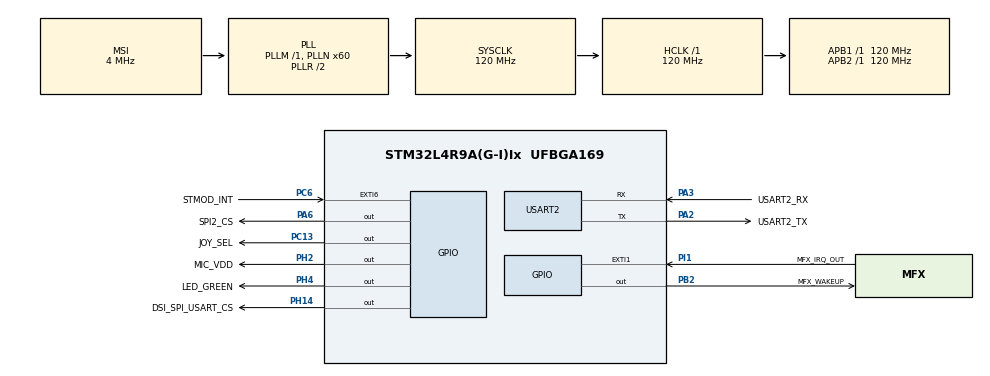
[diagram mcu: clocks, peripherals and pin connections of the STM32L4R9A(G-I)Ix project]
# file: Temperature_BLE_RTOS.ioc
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ADC1.Channel-7\#ChannelRegularConversion=ADC_CHANNEL_TEMPSENSOR
ADC1.ContinuousConvMode=ENABLE
ADC1.NbrOfConversionFlag=1
ADC1.OffsetNumber-7\#ChannelRegularConversion=ADC_OFFSET_NONE
ADC1.Rank-7\#ChannelRegularConversion=1
ADC1.SamplingTime-7\#ChannelRegularConversion=ADC_SAMPLETIME_640CYCLES_5
ADC1.master=1
DSIHOST_CKN.GPIO_Label=DSI_CK_N
DSIHOST_CKN.Signal=DSIHOST_CKN
DSIHOST_CKP.GPIO_Label=DSI_CK_P
DSIHOST_CKP.Signal=DSIHOST_CKP
DSIHOST_D0N.GPIO_Label=DSI_D0_N
DSIHOST_D0N.Signal=DSIHOST_D0N
DSIHOST_D0P.GPIO_Label=DSI_D0_P
DSIHOST_D0P.Signal=DSIHOST_D0P
DSIHOST_D1N.GPIO_Label=DSI_D1_N
DSIHOST_D1N.Signal=DSIHOST_D1N
DSIHOST_D1P.GPIO_Label=DSI_D1_P
DSIHOST_D1P.Signal=DSIHOST_D1P
Dma.ADC1.0.Direction=DMA_PERIPH_TO_MEMORY
Dma.ADC1.0.EventEnable=DISABLE
Dma.ADC1.0.Instance=DMA1_Channel1
Dma.ADC1.0.MemDataAlignment=DMA_MDATAALIGN_HALFWORD
Dma.ADC1.0.MemInc=DMA_MINC_ENABLE
Dma.ADC1.0.Mode=DMA_CIRCULAR
Dma.ADC1.0.PeriphDataAlignment=DMA_PDATAALIGN_HALFWORD
Dma.ADC1.0.PeriphInc=DMA_PINC_DISABLE
Dma.ADC1.0.Polarity=HAL_DMAMUX_REQUEST_GEN_RISING
Dma.ADC1.0.Priority=DMA_PRIORITY_LOW
Dma.ADC1.0.RequestNumber=1
Dma.ADC1.0.SignalID=NONE
Dma.ADC1.0.SyncEnable=DISABLE
Dma.ADC1.0.SyncPolarity=HAL_DMAMUX_SYNC_NO_EVENT
Dma.ADC1.0.SyncRequestNumber=1
Dma.ADC1.0.SyncSignalID=NONE
Dma.Request0=ADC1
FREERTOS.BinarySemaphores01=adcHalfSem,Dynamic,NULL,Available;adcFullSem,Dynamic,NULL,Available
FREERTOS.Queues01=sensorToBleQueue,10,16,1,Dynamic,NULL,NULL
FREERTOS.Tasks01=SystemTask,8,256,StartDefaultTask,Default,NULL,Dynamic,NULL,NULL;SensorTask,32,512,sensorTask,Default,NULL,Dynamic,NULL,NULL;BLETask,24,512,bleTask,Default,NULL,Dynamic,NULL,NULL
Mcu.Family=STM32L4
Mcu.Name=STM32L4R9A(G-I)Ix
Mcu.Package=UFBGA169
NVIC.DMA1_Channel1_IRQn=true\:5\:0\:false\:false\:true\:true\:false\:true\:true
NVIC.PriorityGroup=NVIC_PRIORITYGROUP_4
NVIC.TIM6_DAC_IRQn=true\:15\:0\:false\:false\:true\:false\:false\:true\:true
NVIC.TimeBase=TIM6_DAC_IRQn
NVIC.TimeBaseIP=TIM6
PA0.Signal=ADCx_IN5
PA1.GPIO_Label=ARD_D5
PA1.Signal=S_TIM5_CH2
PA10.GPIO_Label=USB_OTGFS_ID
PA10.Signal=USB_OTG_FS_ID
PA11.GPIO_Label=USB_OTGFS_DM
PA11.Signal=USB_OTG_FS_DM
PA12.GPIO_Label=USB_OTG_FS_DP
PA12.Signal=USB_OTG_FS_DP
PA13\ (JTMS/SWDIO).GPIO_Label=SWDIO
PA13\ (JTMS/SWDIO).Mode=Serial_Wire
PA13\ (JTMS/SWDIO).Signal=SYS_JTMS-SWDIO
PA14\ (JTCK/SWCLK).GPIO_Label=SWCLK
PA14\ (JTCK/SWCLK).Mode=Serial_Wire
PA14\ (JTCK/SWCLK).Signal=SYS_JTCK-SWCLK
PA15\ (JTDI).GPIO_Label=USART3_RTS
PA15\ (JTDI).Signal=USART3_RTS
PA2.GPIO_Label=USART2_TX
PA2.Mode=Asynchronous
PA2.Signal=USART2_TX
PA3.GPIO_Label=USART2_RX
PA3.Mode=Asynchronous
PA3.Signal=USART2_RX
PA4.GPIO_Label=DCMI_HSYNC
PA4.Signal=DCMI_HSYNC
PA5.GPIO_Label=STMOD_PWM
PA5.Signal=S_TIM2_CH1
PA6.GPIO_Label=SPI2_CS
PA6.Signal=GPIO_Output
PA7.GPIO_Label=ARD_A0
PA7.Signal=ADCx_IN12
PA9.GPIO_Label=USB_OTGFS_VBUS
PA9.Signal=USB_OTG_FS_VBUS
PB0.GPIO_Label=ARD_A3
PB0.Signal=ADCx_IN15
PB10.GPIO_Label=USART3_TX
PB10.Signal=USART3_TX
PB11.GPIO_Label=USART3_RX
PB11.Signal=USART3_RX
PB12.GPIO_Label=DFDATIN1
PB12.Signal=S_DATAIN1DFSDM1
PB13.GPIO_Label=SPI2_CLK
PB13.Signal=SPI2_SCK
PB14.GPIO_Label=SPI2_MISO
PB14.Signal=SPI2_MISO
PB15.GPIO_Label=SPI_MOSI
PB15.Signal=SPI2_MOSI
PB2.GPIO_Label=MFX_WAKEUP
PB2.Signal=GPIO_Output
PB3\ (JTDO/TRACESWO).GPIO_Label=SWO
PB3\ (JTDO/TRACESWO).Signal=SYS_JTDO-SWO
PB4\ (NJTRST).GPIO_Label=ARD_D6
PB4\ (NJTRST).Signal=S_TIM3_CH1
PB5.GPIO_Label=SAI1_SDB
PB5.Signal=SAI1_SD_B
PB6.GPIO_Label=I2C1_SCL
PB6.GPIO_Pu=GPIO_PULLUP
PB6.Signal=I2C1_SCL
PB7.GPIO_Label=PSRAM_ADV
PB7.Signal=FMC_NL
PB9.GPIO_Label=SAI1_FSA
PB9.Signal=SAI1_FS_A
PC0.GPIO_Label=ARD_D0
PC0.Signal=LPUART1_RX
PC1.GPIO_Label=ARD_D1
PC1.Signal=LPUART1_TX
PC10.GPIO_Label=uSD_D2
PC10.Signal=SDMMC1_D2
PC11.GPIO_Label=uSD_D3
PC11.Signal=SDMMC1_D3
PC12.GPIO_Label=uSD_CLK
PC12.Signal=SDMMC1_CK
PC13.GPIO_Label=JOY_SEL
PC13.Signal=GPIO_Output
PC14-OSC32_IN\ (PC14).Mode=LSE-External-Oscillator
PC14-OSC32_IN\ (PC14).Signal=RCC_OSC32_IN
PC15-OSC32_OUT\ (PC15).Mode=LSE-External-Oscillator
PC15-OSC32_OUT\ (PC15).Signal=RCC_OSC32_OUT
PC2.GPIO_Label=DF_CKOUT
PC2.Signal=S_CKOUTDFSDM1
PC3.GPIO_Label=ARD_A2
PC3.Signal=ADCx_IN4
PC4.GPIO_Label=ARD_A1
PC4.Signal=ADCx_IN13
PC6.GPIO_Label=STMOD_INT
PC6.Signal=GPXTI6
PC7.GPIO_Label=DFDATIN3
PC7.Signal=S_DATAIN3DFSDM1
PC8.GPIO_Label=uSD_D0
PC8.Signal=SDMMC1_D0
PC9.GPIO_Label=uSD_D1
PC9.Signal=SDMMC1_D1
PD0.GPIO_Label=D2
PD0.Signal=FMC_D2_DA2
PD1.GPIO_Label=D3
PD1.Signal=FMC_D3_DA3
PD10.GPIO_Label=D15
PD10.Signal=FMC_D15_DA15
PD11.GPIO_Label=PSRAM_A16
PD11.Signal=FMC_A16_CLE
PD12.GPIO_Label=PSRAM_A17
PD12.Signal=FMC_A17_ALE
PD13.GPIO_Label=PSRAM_A18
PD13.Signal=FMC_A18
PD14.GPIO_Label=D0
PD14.Signal=FMC_D0_DA0
PD15.GPIO_Label=D1
PD15.Signal=FMC_D1_DA1
PD2.GPIO_Label=uSD_CMD
PD2.Signal=SDMMC1_CMD
PD3.GPIO_Label=PSRAM_CLK
PD3.Signal=FMC_CLK
PD4.GPIO_Label=PSRAM_OE
PD4.Signal=FMC_NOE
PD5.GPIO_Label=PSRAM_WE
PD5.Signal=FMC_NWE
PD6.GPIO_Label=PSRAM_WAIT
PD6.Signal=FMC_NWAIT
PD7.GPIO_Label=PSRAM_NE1
PD7.Signal=FMC_NE1
PD8.GPIO_Label=D13
PD8.Signal=FMC_D13_DA13
PD9.GPIO_Label=D14
PD9.Signal=FMC_D14_DA14
PE0.GPIO_Label=PSRAM_NBL0
PE0.Signal=FMC_NBL0
PE1.GPIO_Label=PSRAM_NBL1
PE1.Signal=FMC_NBL1
PE10.GPIO_Label=D7
PE10.Signal=FMC_D7_DA7
PE11.GPIO_Label=D8
PE11.Signal=FMC_D8_DA8
PE12.GPIO_Label=D9
PE12.Signal=FMC_D9_DA9
PE13.GPIO_Label=D10
PE13.Signal=FMC_D10_DA10
PE14.GPIO_Label=D11
PE14.Signal=FMC_D11_DA11
PE15.GPIO_Label=D12
PE15.Signal=FMC_D12_DA12
PE2.GPIO_Label=SAI1_MCKA
PE2.Signal=SAI1_MCLK_A
PE3.GPIO_Label=PSRAM_A19
PE3.Signal=FMC_A19
PE4.GPIO_Label=PSRAM_A20
PE4.Signal=FMC_A20
PE5.GPIO_Label=SAI1_SCKA
PE5.Signal=SAI1_SCK_A
PE6.GPIO_Label=SAI1_SDA
PE6.Signal=SAI1_SD_A
PE7.GPIO_Label=D4
PE7.Signal=FMC_D4_DA4
PE8.GPIO_Label=D5
PE8.Signal=FMC_D5_DA5
PE9.GPIO_Label=D6
PE9.Signal=FMC_D6_DA6
PF0.GPIO_Label=PSRAM_A0
PF0.Signal=FMC_A0
PF1.GPIO_Label=PSRAM_A1
PF1.Signal=FMC_A1
PF11.GPIO_Label=DSI_TE
PF11.Signal=DSIHOST_TE
PF12.GPIO_Label=PSRAM_A6
PF12.Signal=FMC_A6
PF13.GPIO_Label=PSRAM_A7
PF13.Signal=FMC_A7
PF14.GPIO_Label=PSRAM_A8
PF14.Signal=FMC_A8
PF15.GPIO_Label=PSRAM_A9
PF15.Signal=FMC_A9
PF2.GPIO_Label=PSRAM_A2
PF2.Signal=FMC_A2
PF3.GPIO_Label=PSRAM_A3
PF3.Signal=FMC_A3
PF4.GPIO_Label=PSRAM_A4
PF4.Signal=FMC_A4
PF5.GPIO_Label=PSRAM_A5
PF5.Signal=FMC_A5
PG0.GPIO_Label=PSRAM_A10
PG0.Signal=FMC_A10
PG1.GPIO_Label=PSRAM_A11
PG1.Signal=FMC_A11
PG10.GPIO_Label=OCTOSPIM_P2_IO7
PG10.Signal=OCTOSPIM_P2_IO7
PG12.GPIO_Label=OCTOSPIM_P2_CS
PG12.Signal=OCTOSPIM_P2_NCS
PG13.GPIO_Label=I2C1_SDA
PG13.GPIO_Pu=GPIO_PULLUP
PG13.Signal=I2C1_SDA
PG15.GPIO_Label=OCTOSPIM_P2_DQS
PG15.Signal=OCTOSPIM_P2_DQS
PG2.GPIO_Label=PSRAM_A12
PG2.Signal=FMC_A12
PG3.GPIO_Label=PSRAM_A13
PG3.Signal=FMC_A13
PG4.GPIO_Label=PSRAM_A14
PG4.Signal=FMC_A14
PG5.GPIO_Label=PSRAM_A15
PG5.Signal=FMC_A15
PG7.GPIO_Label=ARD_15
PG7.Signal=I2C3_SCL
PG8.GPIO_Label=ARD_14
PG8.Signal=I2C3_SDA
PG9.GPIO_Label=OCTOSPIM_P2_IO6
PG9.Signal=OCTOSPIM_P2_IO6
PH0-OSC_IN\ (PH0).Mode=HSE-External-Oscillator
PH0-OSC_IN\ (PH0).Signal=RCC_OSC_IN
PH1-OSC_OUT\ (PH1).Mode=HSE-External-Oscillator
PH1-OSC_OUT\ (PH1).Signal=RCC_OSC_OUT
PH10.GPIO_Label=OCTOSPIM_P2_IO5
PH10.Signal=OCTOSPIM_P2_IO5
PH11.GPIO_Label=DCMI_D2
PH11.Signal=DCMI_D2
PH12.GPIO_Label=DCMI_D3
PH12.Signal=DCMI_D3
PH13.GPIO_Label=ARD_D9
PH13.Signal=TIM8_CH1N
PH14.GPIO_Label=DSI_SPI_USART_CS
PH14.Signal=GPIO_Output
PH2.GPIO_Label=MIC_VDD
PH2.Signal=GPIO_Output
PH4.GPIO_Label=LED_GREEN
PH4.Signal=GPIO_Output
PH5.GPIO_Label=DCMI_PIXCLK
PH5.Signal=DCMI_PIXCLK
PH8.GPIO_Label=OCTOSPI_P2_IO3
PH8.Signal=OCTOSPIM_P2_IO3
PH9.GPIO_Label=OCTOPSIM_P2_IO4
PH9.Signal=OCTOSPIM_P2_IO4
PI0.GPIO_Label=ARD_10
PI0.Signal=SPI2_NSS
PI1.GPIO_Label=MFX_IRQ_OUT
PI1.Signal=GPXTI1
PI10.GPIO_Label=OCTOSPIM_P2_IO1
PI10.Signal=OCTOSPIM_P2_IO1
PI11.GPIO_Label=OCTOSPIM_P2_IO0
PI11.Signal=OCTOSPIM_P2_IO0
PI4.GPIO_Label=DCMI_D5
PI4.Signal=DCMI_D5
PI5.GPIO_Label=DCMI_VSYNC
PI5.Signal=DCMI_VSYNC
PI6.GPIO_Label=OCTOSPIM_P2_CLK
PI6.Signal=OCTOSPIM_P2_CLK
PI7.GPIO_Label=DCMI_D7
PI7.Signal=DCMI_D7
PI9.GPIO_Label=OCTOSPIM_P2_IO2
PI9.Signal=OCTOSPIM_P2_IO2
ProjectManager.HeapSize=0x200
ProjectManager.StackSize=0x400
ProjectManager.TargetToolchain=STM32CubeIDE
RCC.ADCFreq_Value=32000000
RCC.AHBFreq_Value=120000000
RCC.APB1Freq_Value=120000000
RCC.APB1TimFreq_Value=120000000
RCC.APB2Freq_Value=120000000
RCC.APB2TimFreq_Value=120000000
RCC.CK48CLockSelection=RCC_USBCLKSOURCE_HSI48
RCC.CortexFreq_Value=120000000
RCC.HCLKFreq_Value=120000000
RCC.HSE_VALUE=16000000
RCC.HSI48_VALUE=48000000
RCC.HSI_VALUE=16000000
RCC.MSI_VALUE=4000000
RCC.PLLDSINDIV=32
RCC.PLLN=60
RCC.PLLP=RCC_PLLP_DIV5
RCC.PLLSAI1N=16
RCC.SYSCLKFreq_VALUE=120000000
RCC.SYSCLKSource=RCC_SYSCLKSOURCE_PLLCLK
RCC.USBFreq_Value=48000000
RCC.VCOOutputFreq_Value=240000000
SH.ADCx_IN12.0=ADC1_IN12
SH.ADCx_IN13.0=ADC1_IN13
SH.ADCx_IN15.0=ADC1_IN15
SH.ADCx_IN4.0=ADC1_IN4
SH.ADCx_IN5.0=ADC1_IN5
SH.FMC_A0.0=FMC_A0
SH.FMC_A1.0=FMC_A1
SH.FMC_A10.0=FMC_A10
SH.FMC_A11.0=FMC_A11
SH.FMC_A12.0=FMC_A12
SH.FMC_A13.0=FMC_A13
SH.FMC_A14.0=FMC_A14
SH.FMC_A15.0=FMC_A15
SH.FMC_A16_CLE.0=FMC_A16
SH.FMC_A17_ALE.0=FMC_A17
SH.FMC_A18.0=FMC_A18
SH.FMC_A19.0=FMC_A19
SH.FMC_A2.0=FMC_A2
SH.FMC_A20.0=FMC_A20
SH.FMC_A3.0=FMC_A3
SH.FMC_A4.0=FMC_A4
SH.FMC_A5.0=FMC_A5
SH.FMC_A6.0=FMC_A6
SH.FMC_A7.0=FMC_A7
SH.FMC_A8.0=FMC_A8
SH.FMC_A9.0=FMC_A9
SH.FMC_CLK.0=FMC_CLK
SH.FMC_D0_DA0.0=FMC_D0
SH.FMC_D10_DA10.0=FMC_D10
SH.FMC_D11_DA11.0=FMC_D11
SH.FMC_D12_DA12.0=FMC_D12
SH.FMC_D13_DA13.0=FMC_D13
SH.FMC_D14_DA14.0=FMC_D14
SH.FMC_D15_DA15.0=FMC_D15
SH.FMC_D1_DA1.0=FMC_D1
SH.FMC_D2_DA2.0=FMC_D2
SH.FMC_D3_DA3.0=FMC_D3
SH.FMC_D4_DA4.0=FMC_D4
SH.FMC_D5_DA5.0=FMC_D5
SH.FMC_D6_DA6.0=FMC_D6
SH.FMC_D7_DA7.0=FMC_D7
SH.FMC_D8_DA8.0=FMC_D8
SH.FMC_D9_DA9.0=FMC_D9
SH.FMC_NBL0.0=FMC_NBL0
SH.FMC_NBL1.0=FMC_NBL1
SH.FMC_NL.0=FMC_NL
SH.FMC_NOE.0=FMC_NOE
SH.FMC_NWAIT.0=FMC_NWAIT
SH.FMC_NWE.0=FMC_NWE
SH.S_CKOUTDFSDM1.0=DFSDM1_CKOUT
SH.S_DATAIN1DFSDM1.0=DFSDM1_DATIN1
SH.S_DATAIN3DFSDM1.0=DFSDM1_DATIN3
SH.S_TIM2_CH1.0=TIM2_CH1
SH.S_TIM3_CH1.0=TIM3_CH1
SH.S_TIM5_CH2.0=TIM5_CH2
USART2.VirtualMode-Asynchronous=VM_ASYNC
VP_ADC1_TempSens_Input.Mode=IN-TempSens
VP_FREERTOS_VS_CMSIS_V2.Mode=CMSIS_V2
VP_SYS_VS_tim6.Mode=TIM6
board=STM32L4R9I-DISCO

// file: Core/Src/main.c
/* USER CODE BEGIN Header */
/**
  ******************************************************************************
  * @file           : main.c
  * @brief          : Main program body
  ******************************************************************************
  * @attention
  *
  * Copyright (c) 2026 STMicroelectronics.
  * All rights reserved.
  *
  * This software is licensed under terms that can be found in the LICENSE file
  * in the root directory of this software component.
  * If no LICENSE file comes with this software, it is provided AS-IS.
  *
  ******************************************************************************
  */
/* USER CODE END Header */
#include "main.h"
#include "cmsis_os.h"
#include "adc.h"
#include "dma.h"
#include "usart.h"
#include "gpio.h"

void SystemClock_Config(void);
void MX_FREERTOS_Init(void);

int main(void)
{

  /* MCU Configuration--------------------------------------------------------*/

  /* Reset of all peripherals, Initializes the Flash interface and the Systick. */
  HAL_Init();

  /* Configure the system clock */
  SystemClock_Config();

  /* Initialize all configured peripherals */
  MX_GPIO_Init();
  MX_DMA_Init();
  MX_ADC1_Init();
  MX_USART2_UART_Init();

  /* Init scheduler */
  osKernelInitialize();  /* Call init function for freertos objects (in cmsis_os2.c) */
  MX_FREERTOS_Init();

  /* Start scheduler */
  osKernelStart();

  /* We should never get here as control is now taken by the scheduler */

  /* Infinite loop */
  while (1)
  {

  }
}

void SystemClock_Config(void)
{
  RCC_OscInitTypeDef RCC_OscInitStruct = {0};
  RCC_ClkInitTypeDef RCC_ClkInitStruct = {0};

  /** Configure the main internal regulator output voltage
  */
  if (HAL_PWREx_ControlVoltageScaling(PWR_REGULATOR_VOLTAGE_SCALE1_BOOST) != HAL_OK)
  {
    Error_Handler();
  }

  /** Initializes the RCC Oscillators according to the specified parameters
  * in the RCC_OscInitTypeDef structure.
  */
  RCC_OscInitStruct.OscillatorType = RCC_OSCILLATORTYPE_MSI;
  RCC_OscInitStruct.MSIState = RCC_MSI_ON;
  RCC_OscInitStruct.MSICalibrationValue = 0;
  RCC_OscInitStruct.MSIClockRange = RCC_MSIRANGE_6;
  RCC_OscInitStruct.PLL.PLLState = RCC_PLL_ON;
  RCC_OscInitStruct.PLL.PLLSource = RCC_PLLSOURCE_MSI;
  RCC_OscInitStruct.PLL.PLLM = 1;
  RCC_OscInitStruct.PLL.PLLN = 60;
  RCC_OscInitStruct.PLL.PLLP = RCC_PLLP_DIV5;
  RCC_OscInitStruct.PLL.PLLQ = RCC_PLLQ_DIV2;
  RCC_OscInitStruct.PLL.PLLR = RCC_PLLR_DIV2;
  if (HAL_RCC_OscConfig(&RCC_OscInitStruct) != HAL_OK)
  {
    Error_Handler();
  }

  /** Initializes the CPU, AHB and APB buses clocks
  */
  RCC_ClkInitStruct.ClockType = RCC_CLOCKTYPE_HCLK|RCC_CLOCKTYPE_SYSCLK
                              |RCC_CLOCKTYPE_PCLK1|RCC_CLOCKTYPE_PCLK2;
  RCC_ClkInitStruct.SYSCLKSource = RCC_SYSCLKSOURCE_PLLCLK;
  RCC_ClkInitStruct.AHBCLKDivider = RCC_SYSCLK_DIV1;
  RCC_ClkInitStruct.APB1CLKDivider = RCC_HCLK_DIV1;
  RCC_ClkInitStruct.APB2CLKDivider = RCC_HCLK_DIV1;

  if (HAL_RCC_ClockConfig(&RCC_ClkInitStruct, FLASH_LATENCY_5) != HAL_OK)
  {
    Error_Handler();
  }
}

void HAL_TIM_PeriodElapsedCallback(TIM_HandleTypeDef *htim)
{
  if (htim->Instance == TIM6)
  {
    HAL_IncTick();
  }
}

void Error_Handler(void)
{
  __disable_irq();
  while (1)
  {
  }
}

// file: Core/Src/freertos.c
/* USER CODE BEGIN Header */
/**
  ******************************************************************************
  * File Name          : freertos.c
  * Description        : Code for freertos applications
  ******************************************************************************
  * @attention
  *
  * Copyright (c) 2026 STMicroelectronics.
  * All rights reserved.
  *
  * This software is licensed under terms that can be found in the LICENSE file
  * in the root directory of this software component.
  * If no LICENSE file comes with this software, it is provided AS-IS.
  *
  ******************************************************************************
  */
/* USER CODE END Header */

#include "FreeRTOS.h"
#include "task.h"
#include "main.h"
#include "cmsis_os.h"

/* USER CODE BEGIN Includes */
#include "adc.h"
#include "usart.h"
#include <stdio.h>
#include <string.h>
#include "GlobalDataBase.h"
#include "sensorManager.h"
#include "systemMessages.h"
/* USER CODE END Includes */

/* Definitions for SystemTask */
osThreadId_t SystemTaskHandle;
const osThreadAttr_t SystemTask_attributes = {
  .name = "SystemTask",
  .stack_size = 256 * 4,
  .priority = (osPriority_t) osPriorityLow,
};
/* Definitions for SensorTask */
osThreadId_t SensorTaskHandle;
const osThreadAttr_t SensorTask_attributes = {
  .name = "SensorTask",
  .stack_size = 512 * 4,
  .priority = (osPriority_t) osPriorityAboveNormal,
};
/* Definitions for BLETask */
osThreadId_t BLETaskHandle;
const osThreadAttr_t BLETask_attributes = {
  .name = "BLETask",
  .stack_size = 512 * 4,
  .priority = (osPriority_t) osPriorityNormal,
};
/* Definitions for sensorToBleQueue */
osMessageQueueId_t sensorToBleQueueHandle;
const osMessageQueueAttr_t sensorToBleQueue_attributes = {
  .name = "sensorToBleQueue"
};
/* Definitions for adcHalfSem */
osSemaphoreId_t adcHalfSemHandle;
const osSemaphoreAttr_t adcHalfSem_attributes = {
  .name = "adcHalfSem"
};
/* Definitions for adcFullSem */
osSemaphoreId_t adcFullSemHandle;
const osSemaphoreAttr_t adcFullSem_attributes = {
  .name = "adcFullSem"
};

/* USER CODE BEGIN FunctionPrototypes */
/* Definitions for bleToSensorQueue */
osMessageQueueId_t bleToSensorQueueHandle;

const osMessageQueueAttr_t bleToSensorQueue_attributes =
{
  .name = "bleToSensorQueue"
};
/* USER CODE END FunctionPrototypes */

void StartDefaultTask(void *argument);
void sensorTask(void *argument);
void bleTask(void *argument);

void MX_FREERTOS_Init(void); /* (MISRA C 2004 rule 8.1) */

void MX_FREERTOS_Init(void) {

  /* Create the semaphores(s) */
  /* creation of adcHalfSem */
  adcHalfSemHandle = osSemaphoreNew(1, 1, &adcHalfSem_attributes);

  /* creation of adcFullSem */
  adcFullSemHandle = osSemaphoreNew(1, 1, &adcFullSem_attributes);

  /* Create the queue(s) */
  /* creation of sensorToBleQueue */
  sensorToBleQueueHandle = osMessageQueueNew (10, 16, &sensorToBleQueue_attributes);

  /* USER CODE BEGIN RTOS_QUEUES */

  /* creation of sensorToBleQueue */
   bleToSensorQueueHandle = osMessageQueueNew (10, sizeof(SystemMessage_t), &bleToSensorQueue_attributes);
  /* add queues, ... */
  /* USER CODE END RTOS_QUEUES */

  /* Create the thread(s) */
  /* creation of SystemTask */
  SystemTaskHandle = osThreadNew(StartDefaultTask, NULL, &SystemTask_attributes);

  /* creation of SensorTask */
  SensorTaskHandle = osThreadNew(sensorTask, NULL, &SensorTask_attributes);

  /* creation of BLETask */
  BLETaskHandle = osThreadNew(bleTask, NULL, &BLETask_attributes);

}

void StartDefaultTask(void *argument)
{
  for(;;)
  {
    osDelay(1);
  }
}

void sensorTask(void *argument)
{
  /* USER CODE BEGIN sensorTask */
	SystemMessage_t receivedMessage;

	SystemMessage_t responseMessage;
  /* Infinite loop */
  for(;;)
  {
	  osMessageQueueGet(bleToSensorQueueHandle,
	                    &receivedMessage,
	                    NULL,
	                    osWaitForever);

	  switch(receivedMessage.parameterId)
	  {
	      case PARAM_TEMPERATURE:

	          switch(receivedMessage.accessType)
	          {
	              case ACCESS_CURRENT:
	            	  Sensor_StartSampling();

	            	  osSemaphoreAcquire(adcHalfSemHandle,
	            	                     osWaitForever);
	            	  memcpy(&rawTempDataBuffer[0],
	            	         &adcBuffer[0],
	            	         (ADC_BUFFER_SIZE / 2) * sizeof(uint16_t));

	            	  osSemaphoreAcquire(adcFullSemHandle,
	            	                     osWaitForever);

	            	  memcpy(&rawTempDataBuffer[ADC_BUFFER_SIZE / 2],
	            	         &adcBuffer[ADC_BUFFER_SIZE / 2],
	            	         (ADC_BUFFER_SIZE / 2) * sizeof(uint16_t));

	            	  Sensor_StopSampling();

	            	  ProcessTemperatureData(rawTempDataBuffer,
	            	                         ADC_BUFFER_SIZE);

	            	  responseMessage.deviceId = DEVICE_BLE;

	            	  responseMessage.parameterId = PARAM_TEMPERATURE;

	            	  responseMessage.accessType = ACCESS_CURRENT;

	            	  osMessageQueuePut(sensorToBleQueueHandle,
	            	                    &responseMessage,
	            	                    0,
	            	                    0);
	            	  break;

	              case ACCESS_HISTORY:

	                  break;

	              case ACCESS_STREAM_START:

	                  break;

	              case ACCESS_STREAM_STOP:

	                  break;

	              default:

	                  break;
	          }

	          break;

	      default:

	          break;
	  }

  }
  /* USER CODE END sensorTask */
}

void bleTask(void *argument)
{
  /* USER CODE BEGIN bleTask */
	SystemMessage_t sensorRequest;
	SystemMessage_t sensorResponse;
	int sendRequest = 1;

  /* Infinite loop */
  for(;;)
  {
	  sensorRequest.deviceId = DEVICE_BLE;

	  sensorRequest.parameterId = PARAM_TEMPERATURE;

	  sensorRequest.accessType = ACCESS_CURRENT;

if(sendRequest)
	  osMessageQueuePut(bleToSensorQueueHandle,
	                    &sensorRequest,
	                    0,
	                    0);

	  osMessageQueueGet(sensorToBleQueueHandle,
	                    &sensorResponse,
	                    NULL,
	                    osWaitForever);
	  sendRequest = 0;//temporary, for debugging purpose.
  }
  /* USER CODE END bleTask */
}
